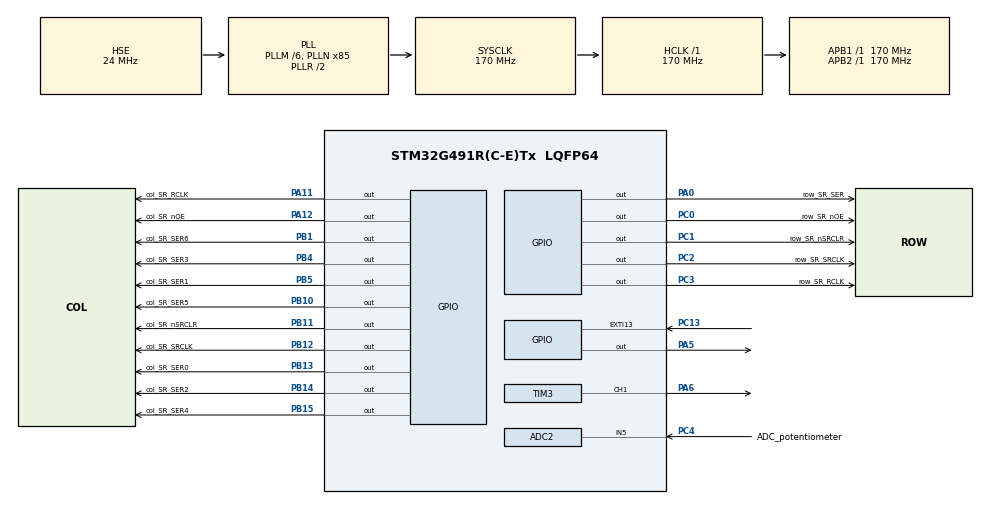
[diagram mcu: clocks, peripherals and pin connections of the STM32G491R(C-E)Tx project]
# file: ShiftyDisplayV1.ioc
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ADC2.Channel-1\#ChannelRegularConversion=ADC_CHANNEL_5
ADC2.NbrOfConversionFlag=1
ADC2.OffsetNumber-1\#ChannelRegularConversion=ADC_OFFSET_NONE
ADC2.Rank-1\#ChannelRegularConversion=1
ADC2.SamplingTime-1\#ChannelRegularConversion=ADC_SAMPLETIME_2CYCLES_5
Mcu.Family=STM32G4
Mcu.Name=STM32G491R(C-E)Tx
Mcu.Package=LQFP64
NUCLEO-G491RE.BUTTON=1
NUCLEO-G491RE.LD2=true
NUCLEO-G491RE.VCP=true
NVIC.EXTI15_10_IRQn=true\:0\:0\:false\:false\:true\:true\:true\:true
NVIC.PriorityGroup=NVIC_PRIORITYGROUP_4
PA0.GPIO_Label=row_SR_SER
PA0.Signal=GPIO_Output
PA11.GPIO_Label=col_SR_RCLK
PA11.Signal=GPIO_Output
PA12.GPIO_Label=col_SR_nOE
PA12.Signal=GPIO_Output
PA13.GPIO_Label=T_SWDIO
PA13.Signal=SYS_JTMS-SWDIO
PA14.GPIO_Label=T_SWCLK
PA14.Signal=SYS_JTCK-SWCLK
PA2.Signal=LPUART1_TX
PA3.Signal=LPUART1_RX
PA5.Signal=GPIO_Output
PA6.Signal=S_TIM3_CH1
PB1.GPIO_Label=col_SR_SER6
PB1.Signal=GPIO_Output
PB10.GPIO_Label=col_SR_SER5
PB10.Signal=GPIO_Output
PB11.GPIO_Label=col_SR_nSRCLR
PB11.Signal=GPIO_Output
PB12.GPIO_Label=col_SR_SRCLK
PB12.Signal=GPIO_Output
PB13.GPIO_Label=col_SR_SER0
PB13.Signal=GPIO_Output
PB14.GPIO_Label=col_SR_SER2
PB14.Signal=GPIO_Output
PB15.GPIO_Label=col_SR_SER4
PB15.Signal=GPIO_Output
PB3.GPIO_Label=T_SWO
PB3.Signal=SYS_JTDO-SWO
PB4.GPIO_Label=col_SR_SER3
PB4.Signal=GPIO_Output
PB5.GPIO_Label=col_SR_SER1
PB5.Signal=GPIO_Output
PC0.GPIO_Label=row_SR_nOE
PC0.Signal=GPIO_Output
PC1.GPIO_Label=row_SR_nSRCLR
PC1.Signal=GPIO_Output
PC13.Signal=GPXTI13
PC14-OSC32_IN.GPIO_Label=RCC_OSC32_IN
PC14-OSC32_IN.Mode=LSE-External-Oscillator
PC14-OSC32_IN.Signal=RCC_OSC32_IN
PC15-OSC32_OUT.GPIO_Label=RCC_OSC32_OUT
PC15-OSC32_OUT.Mode=LSE-External-Oscillator
PC15-OSC32_OUT.Signal=RCC_OSC32_OUT
PC2.GPIO_Label=row_SR_SRCLK
PC2.Signal=GPIO_Output
PC3.GPIO_Label=row_SR_RCLK
PC3.Signal=GPIO_Output
PC4.GPIO_Label=ADC_potentiometer
PC4.Mode=IN5-Single-Ended
PC4.Signal=ADC2_IN5
PF0-OSC_IN.GPIO_Label=RCC_OSC_IN
PF0-OSC_IN.Mode=HSE-External-Oscillator
PF0-OSC_IN.Signal=RCC_OSC_IN
PF1-OSC_OUT.GPIO_Label=RCC_OSC_OUT
PF1-OSC_OUT.Mode=HSE-External-Oscillator
PF1-OSC_OUT.Signal=RCC_OSC_OUT
ProjectManager.HeapSize=0x200
ProjectManager.StackSize=0x400
ProjectManager.TargetToolchain=STM32CubeIDE
RCC.ADC12Freq_Value=170000000
RCC.ADC345Freq_Value=170000000
RCC.AHBFreq_Value=170000000
RCC.APB1Freq_Value=170000000
RCC.APB1TimFreq_Value=170000000
RCC.APB2Freq_Value=170000000
RCC.APB2TimFreq_Value=170000000
RCC.CortexFreq_Value=170000000
RCC.EXTERNAL_CLOCK_VALUE=12288000
RCC.HCLKFreq_Value=170000000
RCC.HSE_VALUE=24000000
RCC.HSI48_VALUE=48000000
RCC.HSI_VALUE=16000000
RCC.PLLM=RCC_PLLM_DIV6
RCC.PLLN=85
RCC.PLLSourceVirtual=RCC_PLLSOURCE_HSE
RCC.RTCClockSelection=RCC_RTCCLKSOURCE_LSE
RCC.SYSCLKFreq_VALUE=170000000
RCC.SYSCLKSource=RCC_SYSCLKSOURCE_PLLCLK
RCC.USBFreq_Value=48000000
RCC.VCOOutputFreq_Value=340000000
SH.S_TIM3_CH1.0=TIM3_CH1,PWM Generation1 CH1
TIM3.Channel-PWM\ Generation1\ CH1=TIM_CHANNEL_1
TIM3.PeriodNoDither=2361
TIM3.Prescaler=0
TIM3.PulseNoDither_1=1180
VP_NUCLEO-G491RE_VS_BSP_COMMON.Mode=COMMON
VP_SYS_VS_DBSignals.Mode=DisableDeadBatterySignals
board=NUCLEO-G491RE

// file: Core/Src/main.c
/* USER CODE BEGIN Header */
/**
  ******************************************************************************
  * @file           : main.c
  * @brief          : Main program body
  ******************************************************************************
  * @attention
  *
  * Copyright (c) 2024 STMicroelectronics.
  * All rights reserved.
  *
  * This software is licensed under terms that can be found in the LICENSE file
  * in the root directory of this software component.
  * If no LICENSE file comes with this software, it is provided AS-IS.
  *
  ******************************************************************************
  */
/* USER CODE END Header */
#include "main.h"
#include "adc.h"
#include "tim.h"
#include "gpio.h"

/* USER CODE BEGIN Includes */
#include <stdio.h>
#include <string.h>
/* USER CODE END Includes */

COM_InitTypeDef BspCOMInit;

void SystemClock_Config(void);

int main(void)
{

  /* MCU Configuration--------------------------------------------------------*/

  /* Reset of all peripherals, Initializes the Flash interface and the Systick. */
  HAL_Init();

  /* Configure the system clock */
  SystemClock_Config();

  /* Initialize all configured peripherals */
  MX_GPIO_Init();
  MX_TIM3_Init();
  MX_ADC2_Init();

  /* Initialize led */
  BSP_LED_Init(LED_GREEN);

  /* Initialize USER push-button, will be used to trigger an interrupt each time it's pressed.*/
  BSP_PB_Init(BUTTON_USER, BUTTON_MODE_EXTI);

  /* Initialize COM1 port (115200, 8 bits (7-bit data + 1 stop bit), no parity */
  BspCOMInit.BaudRate   = 115200;
  BspCOMInit.WordLength = COM_WORDLENGTH_8B;
  BspCOMInit.StopBits   = COM_STOPBITS_1;
  BspCOMInit.Parity     = COM_PARITY_NONE;
  BspCOMInit.HwFlowCtl  = COM_HWCONTROL_NONE;
  if (BSP_COM_Init(COM1, &BspCOMInit) != BSP_ERROR_NONE)
  {
    Error_Handler();
  }

  /* Infinite loop */
  /* USER CODE BEGIN WHILE */

  printf("\n\rStarting NUCLEO-STM32G491RE...\n\n\r");

  const uint32_t MIN_TIM_PERIOD = 65535;
  const uint32_t MAX_TIM_PERIOD = 2360;
  HAL_TIM_PWM_Start(&htim3, TIM_CHANNEL_1);

  /*
   * Initialize Shift Register Outputs
   */
  // Initialize control registers as appropriate
  HAL_GPIO_WritePin(row_SR_nOE_GPIO_Port, row_SR_nOE_Pin, 0); // Row is disabled to start, will be enabled when column values are set
  HAL_GPIO_WritePin(row_SR_RCLK_GPIO_Port, row_SR_RCLK_Pin, 0);
  HAL_GPIO_WritePin(row_SR_SRCLK_GPIO_Port, row_SR_SRCLK_Pin, 0);
  HAL_GPIO_WritePin(row_SR_nSRCLR_GPIO_Port, row_SR_nSRCLR_Pin, 0);

  HAL_GPIO_WritePin(col_SR_nOE_GPIO_Port, col_SR_nOE_Pin, 1);
  HAL_GPIO_WritePin(col_SR_RCLK_GPIO_Port, col_SR_RCLK_Pin, 0);
  HAL_GPIO_WritePin(col_SR_SRCLK_GPIO_Port, col_SR_SRCLK_Pin, 0);
  HAL_GPIO_WritePin(col_SR_nSRCLR_GPIO_Port, col_SR_nSRCLR_Pin, 0);

  // Remove shift register clear
  HAL_GPIO_WritePin(row_SR_nSRCLR_GPIO_Port, row_SR_nSRCLR_Pin, 1);
  HAL_GPIO_WritePin(col_SR_nSRCLR_GPIO_Port, col_SR_nSRCLR_Pin, 1);

  // Set all shift register serial outputs to 0
  HAL_GPIO_WritePin(row_SR_SER_GPIO_Port, row_SR_SER_Pin, 0);

  HAL_GPIO_WritePin(col_SR_SER0_GPIO_Port, col_SR_SER0_Pin, 0);
  HAL_GPIO_WritePin(col_SR_SER1_GPIO_Port, col_SR_SER1_Pin, 0);
  HAL_GPIO_WritePin(col_SR_SER2_GPIO_Port, col_SR_SER2_Pin, 0);
  HAL_GPIO_WritePin(col_SR_SER3_GPIO_Port, col_SR_SER3_Pin, 0);
  HAL_GPIO_WritePin(col_SR_SER4_GPIO_Port, col_SR_SER4_Pin, 0);
  HAL_GPIO_WritePin(col_SR_SER5_GPIO_Port, col_SR_SER5_Pin, 0);
  HAL_GPIO_WritePin(col_SR_SER6_GPIO_Port, col_SR_SER6_Pin, 0);

  const uint8_t CLK_DELAY = 1;
  uint8_t row = 0;
  #define ROW_COUNT 18
  #define SR_COUNT 7

//  typedef struct frame {
//	  uint8_t row[ROW_COUNT][SR_COUNT];
//  } Frame;

  const uint8_t frame_hello_world[ROW_COUNT][SR_COUNT] = {
	  {0, 0, 0, 0, 0, 0, 0},
	  {8, 190, 130, 7, 0, 0, 0},
	  {8, 160, 130, 8, 128, 0, 0},
	  {8, 160, 130, 8, 128, 65, 0},
	  {15, 184, 130, 8, 128, 65, 0},
	  {8, 160, 130, 8, 128, 65, 0},
	  {8, 160, 130, 8, 128, 65, 0},
	  {8, 190, 251, 231, 0, 65, 0},
	  {0, 0, 0, 0, 0, 0, 0},
	  {0, 0, 0, 0, 2, 0, 32},
	  {8, 39, 60, 131, 194, 0, 32},
	  {8, 40, 162, 130, 34, 0, 32},
	  {9, 40, 162, 130, 33, 0, 64},
	  {9, 40, 188, 130, 32, 128, 128},
	  {9, 40, 162, 130, 32, 127, 0},
	  {9, 40, 162, 130, 32, 0, 0},
	  {6, 199, 34, 251, 192, 0, 0},
	  {0, 0, 0, 0, 0, 0, 0},
	  };

  const uint8_t frame_all_on[ROW_COUNT][SR_COUNT] = {
	  {255, 255, 255, 255, 255,	255, 255},
	  {255,	255, 255, 255, 255,	255, 255},
	  {255,	255, 255, 255, 255,	255, 255},
	  {255,	255, 255, 255, 255,	255, 255},
	  {255,	255, 255, 255, 255,	255, 255},
	  {255,	255, 255, 255, 255,	255, 255},
	  {255,	255, 255, 255, 255,	255, 255},
	  {255,	255, 255, 255, 255,	255, 255},
	  {255,	255, 255, 255, 255,	255, 255},
	  {255,	255, 255, 255, 255,	255, 255},
	  {255,	255, 255, 255, 255,	255, 255},
	  {255,	255, 255, 255, 255,	255, 255},
	  {255,	255, 255, 255, 255,	255, 255},
	  {255,	255, 255, 255, 255,	255, 255},
	  {255,	255, 255, 255, 255,	255, 255},
	  {255,	255, 255, 255, 255,	255, 255},
	  {255,	255, 255, 255, 255,	255, 255},
	  {255,	255, 255, 255, 255,	255, 255}
  	  };

  const uint8_t frame_list_of_numbers[ROW_COUNT][SR_COUNT] = {
	  {0, 0, 0, 0, 0, 0, 0},
	  {7, 0, 64, 56, 14, 0, 128},
	  {8, 128, 192, 68, 17, 1, 128},
	  {8, 129, 64, 4, 1, 2, 128},
	  {8, 128, 64, 24, 14, 4, 128},
	  {8, 128, 64, 32, 1, 7, 192},
	  {8, 128, 64, 64, 17, 0, 128},
	  {7, 1, 240, 124, 14, 0, 128},
	  {0, 0, 0, 0, 0, 0, 0},
	  {0, 0, 0, 0, 0, 0, 0},
	  {15, 128, 224, 124, 14, 3, 128},
	  {8, 1, 16, 4, 17, 4, 64},
	  {15, 1, 0, 8, 17, 4, 64},
	  {0, 129, 224, 16, 14, 3, 192},
	  {0, 129, 16, 16, 17, 0, 64},
	  {8, 129, 16, 16, 17, 4, 64},
	  {7, 0, 224, 16, 14, 3, 128},
	  {0, 0, 0, 0, 0, 0, 0},
	  };

//  uint8_t currentFrame[ROW_COUNT][SR_COUNT];
//  memcpy(currentFrame, frame_helloWorld, ROW_COUNT*SR_COUNT);

  uint8_t (*current_frame)[SR_COUNT];
  uint8_t (*next_frame)[SR_COUNT];
  current_frame = frame_hello_world;
  next_frame = NULL;
  // Array of different frames and index to track
  uint8_t frame_index = 0;
  #define FRAME_ARRAY_COUNT 3
  uint8_t *frame_array[] = {
	  frame_hello_world,
	  frame_list_of_numbers,
	  frame_all_on
  };

  while (1)
  {
	  // Check if the bottom row has been displayed
	  if(row >= ROW_COUNT - 1) {
		  // Reset row index to the top row
		  row = 0;
		  HAL_GPIO_WritePin(row_SR_SER_GPIO_Port, row_SR_SER_Pin, 1);
		  // Check if a new frame is available, and if so, update current_frame
		  if(next_frame != NULL) {
			  current_frame = next_frame;
			  next_frame = NULL;
		  }
	  } else {
		  // Increment row
		  row++;
		  HAL_GPIO_WritePin(row_SR_SER_GPIO_Port, row_SR_SER_Pin, 0);
	  }

	  /*
	   * Shift each LED value  into the column shift registers
	   */
	  for(uint8_t bit = 0; bit < 8; bit ++) {
		  // Set serial output to each shift register
		  HAL_GPIO_WritePin(col_SR_SER0_GPIO_Port, col_SR_SER0_Pin, (current_frame[row][0] >> bit) & 0x01);
		  HAL_GPIO_WritePin(col_SR_SER1_GPIO_Port, col_SR_SER1_Pin, (current_frame[row][1] >> bit) & 0x01);
		  HAL_GPIO_WritePin(col_SR_SER2_GPIO_Port, col_SR_SER2_Pin, (current_frame[row][2] >> bit) & 0x01);
		  HAL_GPIO_WritePin(col_SR_SER3_GPIO_Port, col_SR_SER3_Pin, (current_frame[row][3] >> bit) & 0x01);
		  HAL_GPIO_WritePin(col_SR_SER4_GPIO_Port, col_SR_SER4_Pin, (current_frame[row][4] >> bit) & 0x01);
		  HAL_GPIO_WritePin(col_SR_SER5_GPIO_Port, col_SR_SER5_Pin, (current_frame[row][5] >> bit) & 0x01);
		  HAL_GPIO_WritePin(col_SR_SER6_GPIO_Port, col_SR_SER6_Pin, (current_frame[row][6] >> bit) & 0x01);

		  // Increment shift register storage location
		  HAL_GPIO_WritePin(col_SR_SRCLK_GPIO_Port, col_SR_SRCLK_Pin, 1);
		  HAL_GPIO_WritePin(col_SR_SRCLK_GPIO_Port, col_SR_SRCLK_Pin, 0);
	  }
	  // Disable row so output is off while transitioning to the next row
	  HAL_GPIO_WritePin(col_SR_nOE_GPIO_Port, col_SR_nOE_Pin, 1);

	  // Latch shift registers
	  HAL_GPIO_WritePin(col_SR_RCLK_GPIO_Port, col_SR_RCLK_Pin, 1);
	  HAL_GPIO_WritePin(col_SR_RCLK_GPIO_Port, col_SR_RCLK_Pin, 0);

	  // Increment row shift registers
	  HAL_GPIO_WritePin(row_SR_SRCLK_GPIO_Port, row_SR_SRCLK_Pin, 1);
	  HAL_GPIO_WritePin(row_SR_RCLK_GPIO_Port, row_SR_RCLK_Pin, 1);

	  HAL_GPIO_WritePin(row_SR_SRCLK_GPIO_Port, row_SR_SRCLK_Pin, 0);
	  HAL_GPIO_WritePin(row_SR_RCLK_GPIO_Port, row_SR_RCLK_Pin, 0);

	  // Enable row
	  HAL_GPIO_WritePin(col_SR_nOE_GPIO_Port, col_SR_nOE_Pin, 0);

	  /*
	   *  Enter config mode if button pressed
	   */
	  if(BSP_PB_GetState(BUTTON_USER) == BUTTON_PRESSED) {
		  // Wait for button to be released
		  HAL_Delay(50); // De-bounce
		  BSP_LED_On(LED_GREEN);
		  HAL_GPIO_WritePin(col_SR_nOE_GPIO_Port, col_SR_nOE_Pin, 1);
		  printf("Entering configuration mode\n\r");
		  while(BSP_PB_GetState(BUTTON_USER) == BUTTON_PRESSED);
		  HAL_Delay(50); // De-bounce

		  // Increment frame
		  if(frame_index < FRAME_ARRAY_COUNT - 1 ) {
			  frame_index ++;
		  } else {
			  frame_index = 0;
		  }

		  next_frame = frame_array[frame_index];

		  /* This section is not current being used

		  // Do this while waiting for another button push
		  uint32_t previousADCValue = 4097; // Should be larger than the maximum ADC value so output is updated on first iteration
		  while(BSP_PB_GetState(BUTTON_USER) == BUTTON_RELEASED) {
			  // Start ADC and sample
			  HAL_ADC_Start(&hadc2);
			  HAL_ADC_PollForConversion(&hadc2, 100);
			  uint32_t newADCValue = HAL_ADC_GetValue(&hadc2);
			  // Check if there is a big enough difference between new and old ADC values
			  uint32_t threshold = 200;
			  uint32_t difference = 0;
			  if (newADCValue > previousADCValue) {
				  difference = newADCValue - previousADCValue;
			  } else {
				  difference = previousADCValue - newADCValue;
			  }
//			  printf("difference: %lu\n\r", difference);
//			  previousADCValue = newADCValue;

			  // Print ADC reading as ratio of full scale (12-bit)
			  if ( difference > threshold) {
				  double adcPercentage = newADCValue/4096.0;
				  printf("ADC Value: %0.3f\n\r", adcPercentage);
				  uint32_t newTIMPeriod = (uint32_t)((MIN_TIM_PERIOD - MAX_TIM_PERIOD) * adcPercentage) + MAX_TIM_PERIOD;
				  htim3.Instance->ARR = newTIMPeriod;
				  htim3.Instance->CCR1 = (uint32_t)(newTIMPeriod * 0.5);
				  printf("New TIM Period: %lu\n\r", newTIMPeriod);
				  previousADCValue = newADCValue;
			  }
			  HAL_Delay(100);
		  }
		  // Wait for button to be released
		  while(BSP_PB_GetState(BUTTON_USER) == BUTTON_PRESSED);
		  printf("Exiting configuration mode\n\r");
		  BSP_LED_Off(LED_GREEN);
		  HAL_GPIO_WritePin(col_SR_nOE_GPIO_Port, col_SR_nOE_Pin, 0);

		  */

	  } // EO config mode

    /* USER CODE END WHILE */

  }
}

void SystemClock_Config(void)
{
  RCC_OscInitTypeDef RCC_OscInitStruct = {0};
  RCC_ClkInitTypeDef RCC_ClkInitStruct = {0};

  /** Configure the main internal regulator output voltage
  */
  HAL_PWREx_ControlVoltageScaling(PWR_REGULATOR_VOLTAGE_SCALE1_BOOST);

  /** Initializes the RCC Oscillators according to the specified parameters
  * in the RCC_OscInitTypeDef structure.
  */
  RCC_OscInitStruct.OscillatorType = RCC_OSCILLATORTYPE_HSE;
  RCC_OscInitStruct.HSEState = RCC_HSE_ON;
  RCC_OscInitStruct.PLL.PLLState = RCC_PLL_ON;
  RCC_OscInitStruct.PLL.PLLSource = RCC_PLLSOURCE_HSE;
  RCC_OscInitStruct.PLL.PLLM = RCC_PLLM_DIV6;
  RCC_OscInitStruct.PLL.PLLN = 85;
  RCC_OscInitStruct.PLL.PLLP = RCC_PLLP_DIV2;
  RCC_OscInitStruct.PLL.PLLQ = RCC_PLLQ_DIV2;
  RCC_OscInitStruct.PLL.PLLR = RCC_PLLR_DIV2;
  if (HAL_RCC_OscConfig(&RCC_OscInitStruct) != HAL_OK)
  {
    Error_Handler();
  }

  /** Initializes the CPU, AHB and APB buses clocks
  */
  RCC_ClkInitStruct.ClockType = RCC_CLOCKTYPE_HCLK|RCC_CLOCKTYPE_SYSCLK
                              |RCC_CLOCKTYPE_PCLK1|RCC_CLOCKTYPE_PCLK2;
  RCC_ClkInitStruct.SYSCLKSource = RCC_SYSCLKSOURCE_PLLCLK;
  RCC_ClkInitStruct.AHBCLKDivider = RCC_SYSCLK_DIV1;
  RCC_ClkInitStruct.APB1CLKDivider = RCC_HCLK_DIV1;
  RCC_ClkInitStruct.APB2CLKDivider = RCC_HCLK_DIV1;

  if (HAL_RCC_ClockConfig(&RCC_ClkInitStruct, FLASH_LATENCY_4) != HAL_OK)
  {
    Error_Handler();
  }
}

void Error_Handler(void)
{
  __disable_irq();
  while (1)
  {
  }
}
